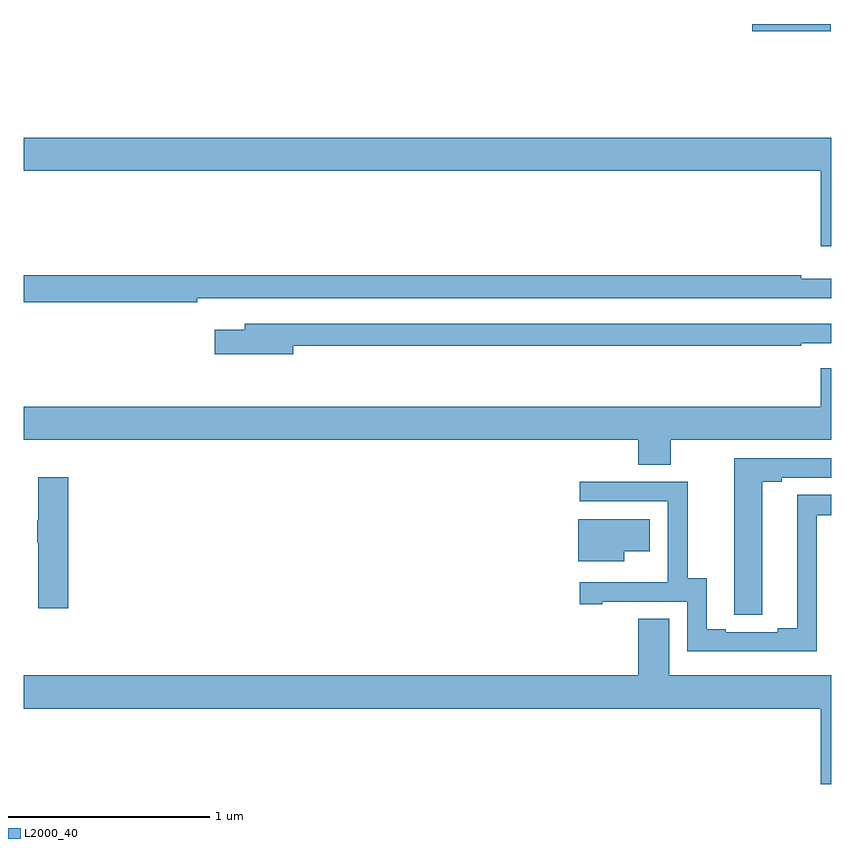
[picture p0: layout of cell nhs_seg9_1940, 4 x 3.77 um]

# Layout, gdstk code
import gdstk
lib = gdstk.Library(unit=1e-6, precision=1e-09)
def R(c, l, rs):  # rectangles x0, y0, x1, y1
    for r in rs: c.add(gdstk.rectangle(r[:2], r[2:], *l))
def P(c, l, *ps):  # polygons
    for p in ps: c.add(gdstk.Polygon(p, *l))
L2000_40 = (2000, 40)

nhs_seg9_1940 = lib.new_cell('nhs_seg9_1940')
R(nhs_seg9_1940, L2000_40, [(224.61,1178.465,224.998,1178.5)])
P(nhs_seg9_1940, L2000_40, [(225,1177.936),(221,1177.936),(221,1177.772),(224.948,1177.772),(224.948,1177.398),(225,1177.398)],
  [(221.858,1177.14),(225,1177.14),(225,1177.237),(224.852,1177.237),(224.852,1177.256),(221,1177.256),(221,1177.12),(221.858,1177.12)],
  [(222.334,1176.906),(224.852,1176.906),(224.852,1176.918),(225,1176.918),(225,1177.014),(222.095,1177.014),(222.095,1176.985),(221.946,1176.985),(221.946,1176.863),(222.334,1176.863)],
  [(224.205,1176.44),(225,1176.44),(225,1176.793),(224.948,1176.793),(224.948,1176.604),(221,1176.604),(221,1176.44),(224.045,1176.44),(224.045,1176.316),(224.205,1176.316)],
  [(224.659,1176.232),(224.755,1176.232),(224.755,1176.252),(225,1176.252),(225,1176.348),(224.519,1176.348),(224.519,1175.68),(224.52,1175.68),(224.52,1175.572),(224.659,1175.572)],
  [(221.219,1176.253),(221.072,1176.253),(221.072,1176.04),(221.065,1176.04),(221.065,1175.929),(221.072,1175.929),(221.072,1175.604),(221.219,1175.604)],
  [(224.928,1176.066),(225,1176.066),(225,1176.167),(224.831,1176.167),(224.831,1175.507),(224.735,1175.507),(224.735,1175.487),(224.479,1175.487),(224.479,1175.502),(224.383,1175.502),(224.383,1175.753),(224.289,1175.753),(224.289,1176.231),(223.755,1176.231),(223.755,1176.135),(224.19,1176.135),(224.19,1175.734),(224.189,1175.734),(224.189,1175.733),(223.755,1175.733),(223.755,1175.625),(223.867,1175.625),(223.867,1175.637),(224.286,1175.637),(224.286,1175.391),(224.928,1175.391)],
  [(223.975,1175.888),(224.101,1175.888),(224.101,1176.046),(223.748,1176.046),(223.748,1175.837),(223.975,1175.837)],
  [(225,1175.272),(224.197,1175.272),(224.197,1175.552),(224.045,1175.552),(224.045,1175.272),(221,1175.272),(221,1175.108),(224.948,1175.108),(224.948,1174.734),(225,1174.734)])

lib.write_gds('nhs_seg9_1940.gds')
